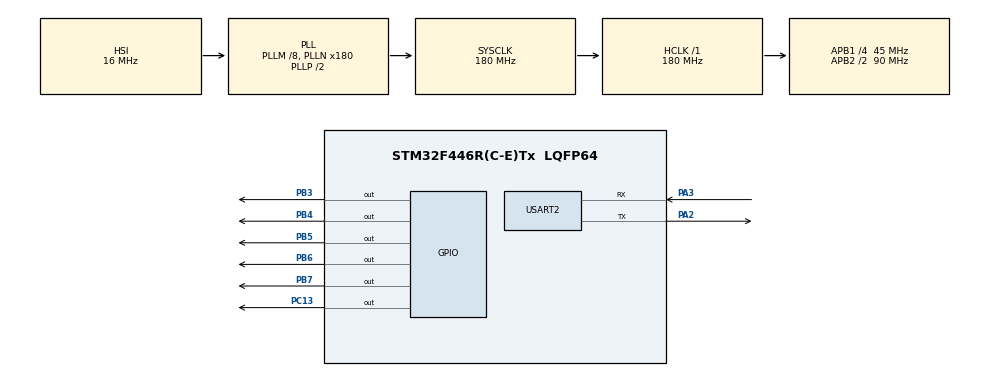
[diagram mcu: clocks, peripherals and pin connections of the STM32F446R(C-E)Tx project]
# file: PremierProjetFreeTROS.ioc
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FREERTOS.Tasks01=Task1,24,128,StartTask1,Default,NULL,Dynamic,NULL,NULL;Task2,24,128,StartTask2,Default,NULL,Dynamic,NULL,NULL;Task3,24,128,StartTask3,Default,NULL,Dynamic,NULL,NULL;Task6,30,128,StartTask6,Default,NULL,Dynamic,NULL,NULL;Task7,31,128,StartTask7,Default,NULL,Dynamic,NULL,NULL
FREERTOS.configUSE_NEWLIB_REENTRANT=1
Mcu.Family=STM32F4
Mcu.Name=STM32F446R(C-E)Tx
Mcu.Package=LQFP64
NVIC.PriorityGroup=NVIC_PRIORITYGROUP_4
PA13.Mode=Serial_Wire
PA13.Signal=SYS_JTMS-SWDIO
PA14.Mode=Serial_Wire
PA14.Signal=SYS_JTCK-SWCLK
PA2.Mode=Asynchronous
PA2.Signal=USART2_TX
PA3.Mode=Asynchronous
PA3.Signal=USART2_RX
PB3.Signal=GPIO_Output
PB4.Signal=GPIO_Output
PB5.Signal=GPIO_Output
PB6.Signal=GPIO_Output
PB7.Signal=GPIO_Output
PC13.Signal=GPIO_Output
PH0-OSC_IN.Mode=HSE-External-Oscillator
PH0-OSC_IN.Signal=RCC_OSC_IN
PH1-OSC_OUT.Mode=HSE-External-Oscillator
PH1-OSC_OUT.Signal=RCC_OSC_OUT
ProjectManager.HeapSize=0x200
ProjectManager.StackSize=0x400
ProjectManager.TargetToolchain=STM32CubeIDE
RCC.48MHZClocksFreq_Value=84000000
RCC.AHBFreq_Value=180000000
RCC.APB1CLKDivider=RCC_HCLK_DIV4
RCC.APB1Freq_Value=45000000
RCC.APB1TimFreq_Value=90000000
RCC.APB2CLKDivider=RCC_HCLK_DIV2
RCC.APB2Freq_Value=90000000
RCC.APB2TimFreq_Value=180000000
RCC.CortexFreq_Value=180000000
RCC.FLatency-AdvancedSettings=FLASH_LATENCY_5
RCC.HCLKFreq_Value=180000000
RCC.HSE_VALUE=8000000
RCC.HSI_VALUE=16000000
RCC.PLLM=8
RCC.PLLN=180
RCC.SYSCLKFreq_VALUE=180000000
RCC.SYSCLKSource=RCC_SYSCLKSOURCE_PLLCLK
RCC.USBFreq_Value=180000000
RCC.VCOOutputFreq_Value=360000000
USART2.VirtualMode=VM_ASYNC
VP_FREERTOS_VS_CMSIS_V2.Mode=CMSIS_V2
board=NUCLEO-F446RE

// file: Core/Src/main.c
/* USER CODE BEGIN Header */
/**
  ******************************************************************************
  * @file           : main.c
  * @brief          : Main program body
  ******************************************************************************
  * @attention
  *
  * Copyright (c) 2024 STMicroelectronics.
  * All rights reserved.
  *
  * This software is licensed under terms that can be found in the LICENSE file
  * in the root directory of this software component.
  * If no LICENSE file comes with this software, it is provided AS-IS.
  *
  ******************************************************************************
  */
/* USER CODE END Header */
#include "main.h"
#include "cmsis_os.h"

UART_HandleTypeDef huart2;

/* Definitions for Task1 */
osThreadId_t Task1Handle;
const osThreadAttr_t Task1_attributes = {
  .name = "Task1",
  .stack_size = 128 * 4,
  .priority = (osPriority_t) osPriorityNormal,
};
/* Definitions for Task2 */
osThreadId_t Task2Handle;
const osThreadAttr_t Task2_attributes = {
  .name = "Task2",
  .stack_size = 128 * 4,
  .priority = (osPriority_t) osPriorityNormal,
};
/* Definitions for Task3 */
osThreadId_t Task3Handle;
const osThreadAttr_t Task3_attributes = {
  .name = "Task3",
  .stack_size = 128 * 4,
  .priority = (osPriority_t) osPriorityNormal,
};

void SystemClock_Config(void);
static void MX_GPIO_Init(void);
static void MX_USART2_UART_Init(void);
void StartTask1(void *argument);
void StartTask2(void *argument);
void StartTask3(void *argument);

/* USER CODE BEGIN 0 */
uint8_t dataTask1[] = "Hi, Task1\r\n";
uint8_t dataTask2[] = "Hello, Task2\r\n";
uint8_t dataTask3[] = "Great, Task3\r\n";

/* USER CODE END 0 */

int main(void)
{

  /* MCU Configuration--------------------------------------------------------*/

  /* Reset of all peripherals, Initializes the Flash interface and the Systick. */
  HAL_Init();

  /* Configure the system clock */
  SystemClock_Config();

  /* Initialize all configured peripherals */
  MX_GPIO_Init();
  MX_USART2_UART_Init();

  /* Init scheduler */
  osKernelInitialize();

  /* Create the thread(s) */
  /* creation of Task1 */
  Task1Handle = osThreadNew(StartTask1, NULL, &Task1_attributes);

  /* creation of Task2 */
  Task2Handle = osThreadNew(StartTask2, NULL, &Task2_attributes);

  /* creation of Task3 */
  Task3Handle = osThreadNew(StartTask3, NULL, &Task3_attributes);

  /* Start scheduler */
  osKernelStart();

  /* We should never get here as control is now taken by the scheduler */
  /* Infinite loop */
  while (1)
  {

    /* USER CODE BEGIN 3 */
	  //HAL_UART_Transmit(&huart2, dataTask1, 7, 1000);
	  //HAL_Delay(1000);

  }
  /* USER CODE END 3 */
}

void SystemClock_Config(void)
{
  RCC_OscInitTypeDef RCC_OscInitStruct = {0};
  RCC_ClkInitTypeDef RCC_ClkInitStruct = {0};

  /** Configure the main internal regulator output voltage
  */
  __HAL_RCC_PWR_CLK_ENABLE();
  __HAL_PWR_VOLTAGESCALING_CONFIG(PWR_REGULATOR_VOLTAGE_SCALE1);

  /** Initializes the RCC Oscillators according to the specified parameters
  * in the RCC_OscInitTypeDef structure.
  */
  RCC_OscInitStruct.OscillatorType = RCC_OSCILLATORTYPE_HSI;
  RCC_OscInitStruct.HSIState = RCC_HSI_ON;
  RCC_OscInitStruct.HSICalibrationValue = RCC_HSICALIBRATION_DEFAULT;
  RCC_OscInitStruct.PLL.PLLState = RCC_PLL_ON;
  RCC_OscInitStruct.PLL.PLLSource = RCC_PLLSOURCE_HSI;
  RCC_OscInitStruct.PLL.PLLM = 8;
  RCC_OscInitStruct.PLL.PLLN = 180;
  RCC_OscInitStruct.PLL.PLLP = RCC_PLLP_DIV2;
  RCC_OscInitStruct.PLL.PLLQ = 2;
  RCC_OscInitStruct.PLL.PLLR = 2;
  if (HAL_RCC_OscConfig(&RCC_OscInitStruct) != HAL_OK)
  {
    Error_Handler();
  }

  /** Activate the Over-Drive mode
  */
  if (HAL_PWREx_EnableOverDrive() != HAL_OK)
  {
    Error_Handler();
  }

  /** Initializes the CPU, AHB and APB buses clocks
  */
  RCC_ClkInitStruct.ClockType = RCC_CLOCKTYPE_HCLK|RCC_CLOCKTYPE_SYSCLK
                              |RCC_CLOCKTYPE_PCLK1|RCC_CLOCKTYPE_PCLK2;
  RCC_ClkInitStruct.SYSCLKSource = RCC_SYSCLKSOURCE_PLLCLK;
  RCC_ClkInitStruct.AHBCLKDivider = RCC_SYSCLK_DIV1;
  RCC_ClkInitStruct.APB1CLKDivider = RCC_HCLK_DIV4;
  RCC_ClkInitStruct.APB2CLKDivider = RCC_HCLK_DIV2;

  if (HAL_RCC_ClockConfig(&RCC_ClkInitStruct, FLASH_LATENCY_5) != HAL_OK)
  {
    Error_Handler();
  }
}

static void MX_USART2_UART_Init(void)
{

  huart2.Instance = USART2;
  huart2.Init.BaudRate = 115200;
  huart2.Init.WordLength = UART_WORDLENGTH_8B;
  huart2.Init.StopBits = UART_STOPBITS_1;
  huart2.Init.Parity = UART_PARITY_NONE;
  huart2.Init.Mode = UART_MODE_TX_RX;
  huart2.Init.HwFlowCtl = UART_HWCONTROL_NONE;
  huart2.Init.OverSampling = UART_OVERSAMPLING_16;
  if (HAL_UART_Init(&huart2) != HAL_OK)
  {
    Error_Handler();
  }

}

static void MX_GPIO_Init(void)
{
  GPIO_InitTypeDef GPIO_InitStruct = {0};

  /* GPIO Ports Clock Enable */
  __HAL_RCC_GPIOH_CLK_ENABLE();
  __HAL_RCC_GPIOA_CLK_ENABLE();
  __HAL_RCC_GPIOB_CLK_ENABLE();

  /*Configure GPIO pin Output Level */
  HAL_GPIO_WritePin(GPIOB, GPIO_PIN_3|GPIO_PIN_4|GPIO_PIN_5, GPIO_PIN_RESET);

  /*Configure GPIO pins : PB3 PB4 PB5 */
  GPIO_InitStruct.Pin = GPIO_PIN_3|GPIO_PIN_4|GPIO_PIN_5;
  GPIO_InitStruct.Mode = GPIO_MODE_OUTPUT_PP;
  GPIO_InitStruct.Pull = GPIO_NOPULL;
  GPIO_InitStruct.Speed = GPIO_SPEED_FREQ_LOW;
  HAL_GPIO_Init(GPIOB, &GPIO_InitStruct);

}

void StartTask1(void *argument)
{
  /* USER CODE BEGIN 5 */
  /* Infinite loop */
  for(;;)
  {
	  HAL_GPIO_TogglePin(GPIOB,GPIO_PIN_3); //GREEN
	  osDelay(12000);
	 // HAL_GPIO_WritePin(GPIOB, GPIO_PIN_3|GPIO_PIN_4|GPIO_PIN_5, GPIO_PIN_RESET);
	  HAL_GPIO_TogglePin(GPIOB,GPIO_PIN_3);
	  osDelay(13000);

  }
  /* USER CODE END 5 */
}

void StartTask2(void *argument)
{
  /* USER CODE BEGIN StartTask2 */
  /* Infinite loop */
  for(;;)
  {
	  osDelay(10000);
	  HAL_GPIO_TogglePin(GPIOB,GPIO_PIN_4); //ORANGE
	  osDelay(2000);
	  HAL_GPIO_TogglePin(GPIOB,GPIO_PIN_4);
	  osDelay(10000);
	  HAL_GPIO_TogglePin(GPIOB,GPIO_PIN_4);
	  osDelay(3000);
	  HAL_GPIO_TogglePin(GPIOB,GPIO_PIN_4);
  }
  /* USER CODE END StartTask2 */
}

void StartTask3(void *argument)
{
  /* USER CODE BEGIN StartTask3 */
  /* Infinite loop */
  for(;;)
  {
	  osDelay(12000);
	  HAL_GPIO_TogglePin(GPIOB, GPIO_PIN_5); //RED
	  osDelay(10000);
	  HAL_GPIO_TogglePin(GPIOB, GPIO_PIN_5);
	  osDelay(3000);
  }
  /* USER CODE END StartTask3 */
}

void HAL_TIM_PeriodElapsedCallback(TIM_HandleTypeDef *htim)
{
  if (htim->Instance == TIM6) {
    HAL_IncTick();
  }
}

void Error_Handler(void)
{
  __disable_irq();
  while (1)
  {
  }
}
